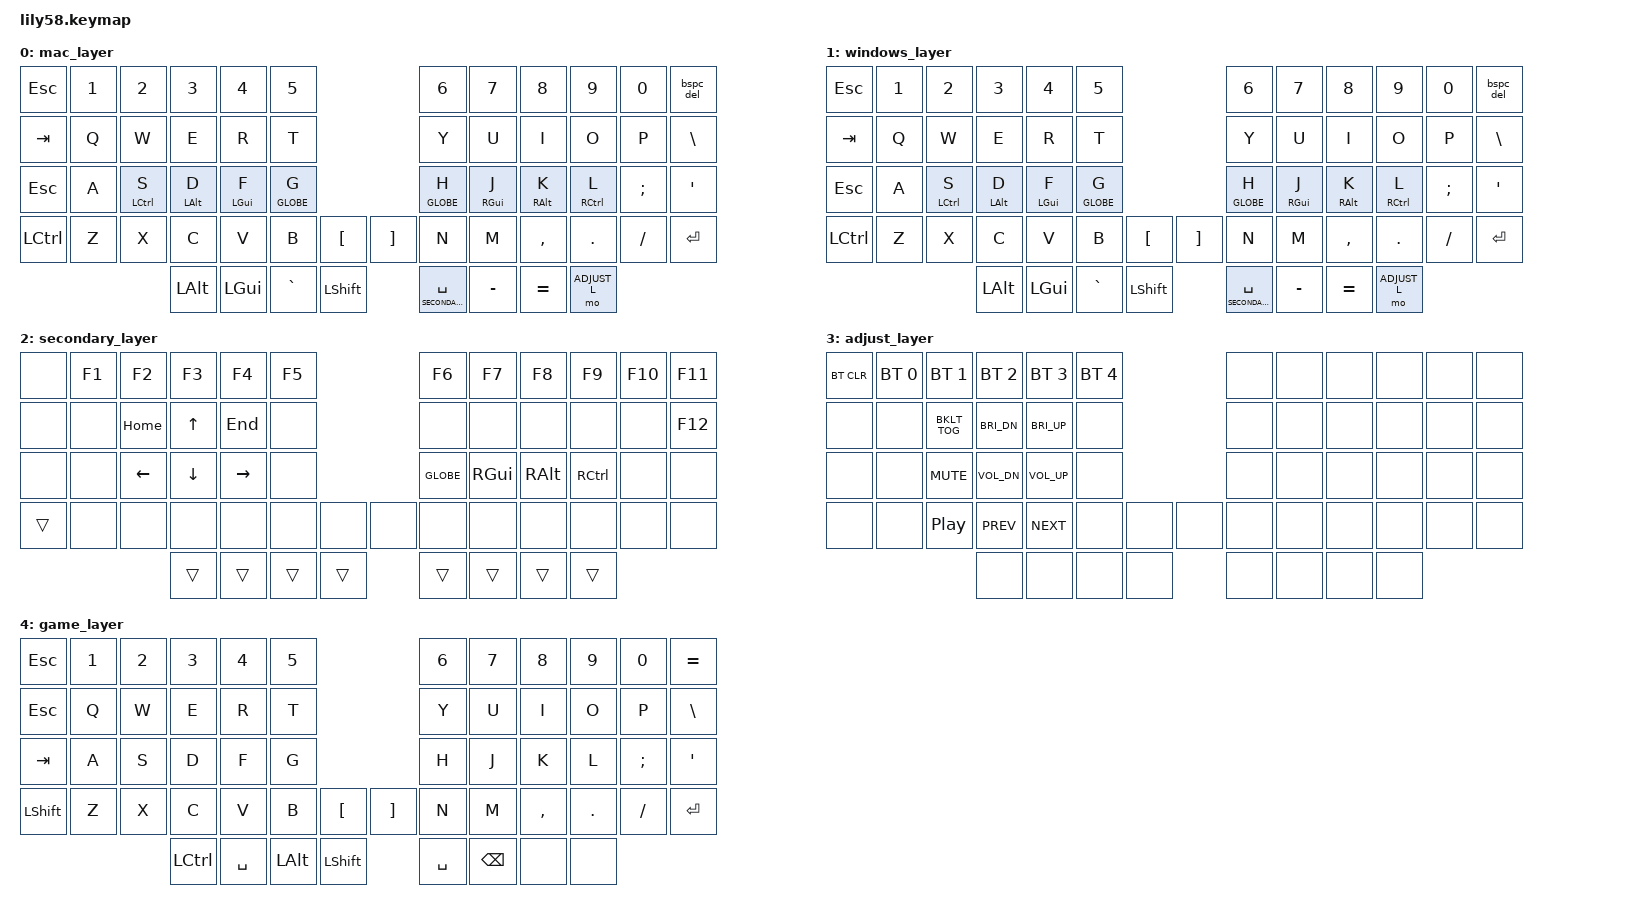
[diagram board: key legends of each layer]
/*
 * Copyright (c) 2020 The ZMK Contributors
 *
 * SPDX-License-Identifier: MIT
 */

#include <behaviors.dtsi>
#include <dt-bindings/zmk/keys.h>
#include <dt-bindings/zmk/bt.h>
#include <dt-bindings/zmk/outputs.h>
#include <dt-bindings/zmk/ext_power.h>

#define MAC_L 0
#define WINDOWS_L 1
#define SECONDARY_L 2
#define ADJUST_L 3
#define GAME_L 4

/ {
    behaviors {
        hm: homerow_mods {
                compatible = "zmk,behavior-hold-tap";
                label = "HOMEROW_MODS";
                #binding-cells = <2>;
                tapping-term-ms = <200>;
                quick-tap-ms = <200>;
                require-prior-idle-ms = <150>;
                flavor = "tap-preferred";
                bindings = <&kp>, <&kp>;
        };

        bspc_del: backspace_delete {
                compatible = "zmk,behavior-mod-morph";
                #binding-cells = <0>;
                bindings = <&kp BACKSPACE>, <&kp DELETE>;
                mods = <(MOD_LSFT|MOD_RSFT)>;
                keep-mods = <(MOD_RSFT)>;
        };
    };

    combos {
                compatible = "zmk,combos";

                combo_escape {
                        timeout-ms = <50>;
                        key-positions = <26 27>;
                        bindings = <&kp ESC>;
                };

                combo_tab {
                        timeout-ms = <50>;
                        key-positions = <27 28>;
                        bindings = <&kp TAB>;
                };

                combo_backspace {
                        timeout-ms = <50>;
                        key-positions = <31 32>;
                        bindings = <&bspc_del>;
                };

                combo_enter {
                        timeout-ms = <50>;
                        key-positions = <32 33>;
                        bindings = <&kp ENTER>;
                };
    };

    keymap {
        compatible = "zmk,keymap";

        mac_layer {
            bindings = <
                &kp ESC   &kp N1 &kp N2      &kp N3     &kp N4     &kp N5                     &kp N6      &kp N7     &kp N8     &kp N9      &kp N0   &bspc_del
                &kp TAB   &kp Q  &kp W       &kp E      &kp R      &kp T                      &kp Y       &kp U      &kp I      &kp O       &kp P    &kp BSLH
                &kp ESC   &kp A  &hm LCTRL S &hm LALT D &hm LGUI F &hm GLOBE G                &hm GLOBE H &hm RGUI J &hm RALT K &hm RCTRL L &kp SEMI &kp SQT
                &kp LCTRL &kp Z  &kp X       &kp C      &kp V      &kp B  &kp LBKT   &kp RBKT &kp N       &kp M      &kp COMMA  &kp DOT     &kp FSLH &kp ENTER
                                             &kp LALT &kp LGUI &kp GRAVE &kp LSHFT   &lt SECONDARY_L SPACE &kp MINUS &kp EQUAL &mo ADJUST_L
            >;
        };

        windows_layer {
            bindings = <
                &kp ESC   &kp N1 &kp N2      &kp N3     &kp N4     &kp N5                     &kp N6      &kp N7     &kp N8     &kp N9      &kp N0   &bspc_del
                &kp TAB   &kp Q  &kp W       &kp E      &kp R      &kp T                      &kp Y       &kp U      &kp I      &kp O       &kp P    &kp BSLH
                &kp ESC   &kp A  &hm LCTRL S &hm LALT D &hm LGUI F &hm GLOBE G                &hm GLOBE H &hm RGUI J &hm RALT K &hm RCTRL L &kp SEMI &kp SQT
                &kp LCTRL &kp Z  &kp X       &kp C      &kp V      &kp B  &kp LBKT   &kp RBKT &kp N       &kp M      &kp COMMA  &kp DOT     &kp FSLH &kp ENTER
                                             &kp LALT &kp LGUI &kp GRAVE &kp LSHFT   &lt SECONDARY_L SPACE &kp MINUS &kp EQUAL &mo ADJUST_L
            >;
        };

        secondary_layer {
            bindings = <
                &none  &kp F1 &kp F2   &kp F3   &kp F4    &kp F5                &kp F6    &kp F7   &kp F8   &kp F9    &kp F10 &kp F11
                &none  &none  &kp HOME &kp UP   &kp END   &none                 &none     &none    &none    &none     &none   &kp F12
                &none  &none  &kp LEFT &kp DOWN &kp RIGHT &none                 &kp GLOBE &kp RGUI &kp RALT &kp RCTRL &none   &none
                &trans &none  &none    &none    &none     &none  &none   &none &none &none &none &none &none &none
                                           &trans &trans &trans &trans   &trans &trans &trans &trans
            >;
        };

        adjust_layer {
            bindings = <
                &bt BT_CLR &bt BT_SEL 0 &bt BT_SEL 1     &bt BT_SEL 2 &bt BT_SEL 3 &bt BT_SEL 4        &none &none &none &none &none &none
                &none      &none        &kp C_BKLT_TOG   &kp C_BRI_DN &kp C_BRI_UP &none               &none &none &none &none &none &none
                &none      &none        &kp C_MUTE       &kp C_VOL_DN &kp C_VOL_UP &none               &none &none &none &none &none &none
                &none      &none        &kp C_PLAY_PAUSE &kp C_PREV   &kp C_NEXT   &none &none   &none &none &none &none &none &none &none
                                                                       &none &none &none &none   &none &none &none &none
            >;
        };

        game_layer {
            bindings = <
                &kp ESC   &kp N1 &kp N2 &kp N3   &kp N4   &kp N5                     &kp N6 &kp N7   &kp N8    &kp N9  &kp N0   &kp EQUAL
                &kp ESC   &kp Q  &kp W  &kp E    &kp R    &kp T                      &kp Y  &kp U    &kp I     &kp O   &kp P    &kp BSLH
                &kp TAB   &kp A  &kp S  &kp D    &kp F    &kp G                      &kp H  &kp J    &kp K     &kp L   &kp SEMI &kp SQT
                &kp LSHFT &kp Z  &kp X  &kp C    &kp V    &kp B  &kp LBKT   &kp RBKT &kp N  &kp M    &kp COMMA &kp DOT &kp FSLH &kp ENTER
                                   &kp LCTRL &kp SPACE &kp LALT &kp LSHFT   &kp SPACE &kp BSPC &none &none
            >;
        };
    };
};
